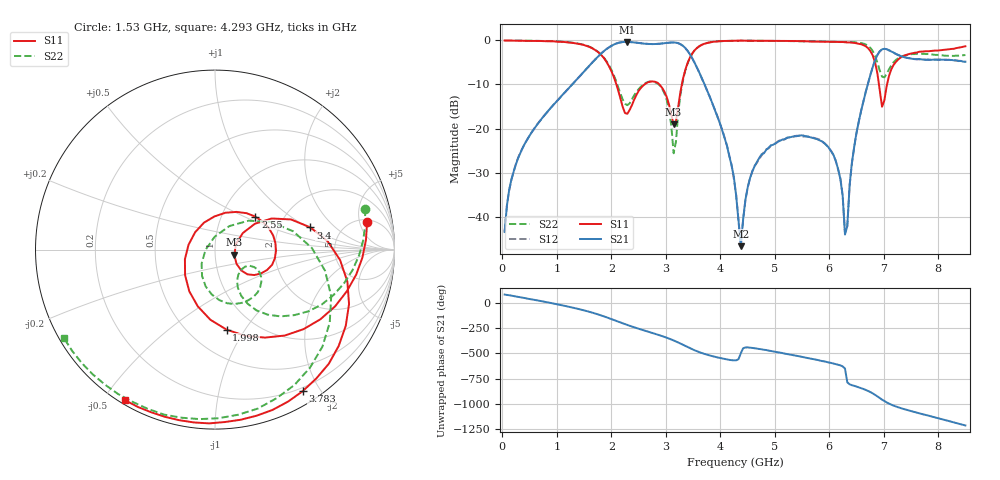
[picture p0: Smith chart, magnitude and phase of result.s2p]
#  HZ  S  MA  R  50.00
! Rohde & Schwarz Vector Network Analyzer
! Rohde-Schwarz,ZNBT8-20Port,1318700624101530,3.72
! Created: UTC 4/3/2026, 2:27:30 PM
! test scpi record-comments
! freq[Hz]  mag:S11  ang:S11  mag:S21  ang:S21  mag:S12  ang:S12  mag:S22  ang:S22
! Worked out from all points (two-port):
!   200 points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, 42.51 MHz to 8.5 GHz, reference 50 ohm
!   highest |S21| = -0.47 dB at 2.295 GHz (marker M1); lowest = -46.5 dB at 4.378 GHz (marker M2)
!   |S21| within 3 dB of the highest: 1.783 GHz to 3.453 GHz (1.67 GHz wide, 63.8 % of centre); 6.883 GHz to 7.277 GHz (393.7 MHz wide, 5.56 % of centre)
!   lowest |S11| = -19.1 dB at 3.145 GHz (marker M3), VSWR 1.25, Z = 62 - j3.56 ohm
!   |S11| at or under -10 dB: 2.092 GHz to 2.616 GHz (523.8 MHz wide, 22.2 % of centre); 2.879 GHz to 3.297 GHz (417.9 MHz wide, 13.5 % of centre); 6.913 GHz to 7.063 GHz (149.7 MHz wide, 2.14 % of centre)
!   |S22| runs from -25.5 to -0.1 dB; largest |S21 - S12| = 0.007
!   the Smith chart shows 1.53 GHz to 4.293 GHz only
!   S11 on the Smith chart (normalised r, x): 1.53 GHz: 5.47, +6.56; 1.998 GHz: 0.74, -0.83; 2.55 GHz: 1.44, +0.58; 3.4 GHz: 2.99, +1.05; 3.783 GHz: 0.16, -1.78; 4.293 GHz: 0.02, -0.57
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4.250896e7  0.9812 175.5  0.006857 83.0  0.006896 83.1  0.9816 175.7
8.500081e8  0.964 94.3  0.1608 3.5  0.1605 3.6  0.9689 94.2
1.487507e9  0.8782 16.7  0.4314 -71.9  0.4313 -71.9  0.8824 20.9
1.530007e9  0.8616 10.3  0.4597 -77.9  0.4609 -77.9  0.8664 15.2
1.997507e9  0.4507 -81.8  0.8507 -158.7  0.8516 -158.8  0.4658 -51.1
2.295007e9  0.147 138.8  0.9475 141.8  0.9475 141.9  0.1838 -37.7
2.550006e9  0.2905 39.2  0.9137 96.2  0.9135 96.3  0.2986 -30.7
2.890006e9  0.3117 -21.3  0.9032 39.3  0.9029 39.3  0.3067 -77.1
3.145006e9  0.1114 -14.8  0.9333 -11.7  0.933 -11.6  0.05282 -178.0
3.400005e9  0.5457 13.1  0.7534 -77.2  0.752 -77.1  0.5403 0.9
3.782505e9  0.928 -58.3  0.2496 -156.5  0.2486 -156.2  0.9291 -82.0
4.292504e9  0.9774 -120.8  0.01763 151.7  0.01792 151.7  0.9754 -149.5
4.377504e9  0.9791 -129.6  0.004757 -139.1  0.004791 -139.2  0.9778 -159.1
4.760004e9  0.9777 -168.1  0.05152 -99.2  0.04993 -98.6  0.9765 159.1
5.695003e9  0.9572 100.0  0.07883 165.0  0.07979 165.4  0.9588 59.1
6.120003e9  0.9485 55.1  0.04332 115.1  0.04377 113.3  0.9478 11.2
6.290002e9  0.9389 34.9  0.006424 70.8  0.00667 71.1  0.9448 -9.3
6.800002e9  0.6651 -64.3  0.4952 -176.0  0.495 -175.9  0.7459 -89.5
6.927502e9  0.2742 -135.0  0.7418 138.5  0.7421 138.6  0.4518 -103.3
7.097501e9  0.3917 53.9  0.7629 82.8  0.7624 82.8  0.4659 -82.8
7.820001e9  0.7436 -57.9  0.5979 -35.9  0.5964 -36.1  0.6918 166.9
8.5e9  0.8458 -116.5  0.5671 -133.4  0.5658 -133.3  0.6745 24.4
